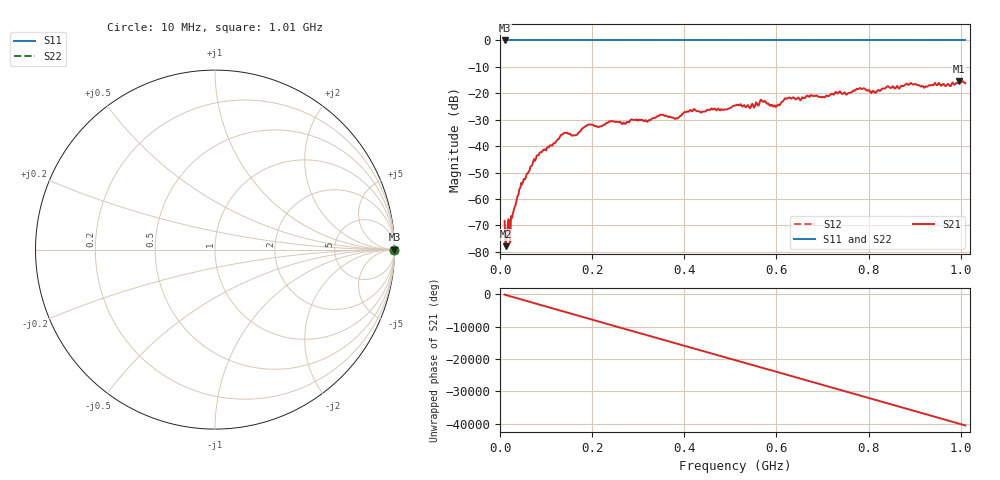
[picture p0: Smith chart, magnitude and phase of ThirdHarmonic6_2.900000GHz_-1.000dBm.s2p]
! 8/17/2025 8:00:44 AM
! C:\ANRITSUVNA\TEMP\TEMP.S2P
! CHANNEL.1
! TR.MEASUREMENT
! RAW.DATA
! RF.CORRECTION.OFF
! AVERAGING.OFF
! IF.BANDWIDTH: 5KHZ
! SWEEPTYPE:  FREQ.SWEEP(Linear)
! Reference Plane Port Info
! PORT:  PORT1  PORT2
! DISTANCE:  0  m  0  m
! TIME:  0  s  0  s
! PHASE.OFFSET:  0  deg.  0  deg.
! LOSS:  0  dB  0  dB
! REF.LOSS:  0  dB  0  dB
! REF.FREQ:  0  Hz  0  Hz
! Power Info
! POWER:  -20  dBm  -20  dBm
! EFF.POWER:  -20  dBm  -20  dBm
! SOURCE.ATTEN:  0  dB  0  dB
! TEST.ATTEN:  0  dB  0  dB
# GHZ S RI R 50.0
! FREQ.GHZ  S11RE  S11IM  S21RE  S21IM  S12RE  S12IM  S22RE  S22IM
!; PortSelection: Port_12
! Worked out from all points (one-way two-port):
!   501 points, 10 MHz to 1.01 GHz, reference 50 ohm
!   highest |S21| = -15.31 dB at 996 MHz (marker M1); lowest = -77.9 dB at 12 MHz (marker M2)
!   lowest |S11| = 0.0 dB at 10 MHz (marker M3)
!   |S11| at or under -10 dB: nowhere
!   |S22| runs from 0.0 to 0.0 dB; largest |S21 - S12| = 1.2
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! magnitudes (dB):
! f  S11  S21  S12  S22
! 10 MHz  0.0  -68.3  0.0  0.0
! 12 MHz  0.0  -77.9  0.0  0.0
! 26 MHz  0.0  -67.3  0.0  0.0
! 28 MHz  0.0  -65.5  0.0  0.0
! 46 MHz  0.0  -53.9  0.0  0.0
! 84 MHz  0.0  -43.4  0.0  0.0
! 136 MHz  0.0  -35.6  0.0  0.0
! 162 MHz  0.0  -35.9  0.0  0.0
! 178 MHz  0.0  -33.4  0.0  0.0
! 322 MHz  0.0  -30.4  0.0  0.0
! 344 MHz  0.0  -28.7  0.0  0.0
! 382 MHz  0.0  -29.4  0.0  0.0
! 418 MHz  0.0  -26.7  0.0  0.0
! 510 MHz  0.0  -24.6  0.0  0.0
! 540 MHz  0.0  -25.0  0.0  0.0
! 570 MHz  0.0  -23.1  0.0  0.0
! 596 MHz  0.0  -24.5  0.0  0.0
! 622 MHz  0.0  -22.1  0.0  0.0
! 678 MHz  0.0  -21.0  0.0  0.0
! 844 MHz  0.0  -17.5  0.0  0.0
! 996 MHz  0.0  -15.3  0.0  0.0
! 1.01 GHz  0.0  -16.2  0.0  0.0
